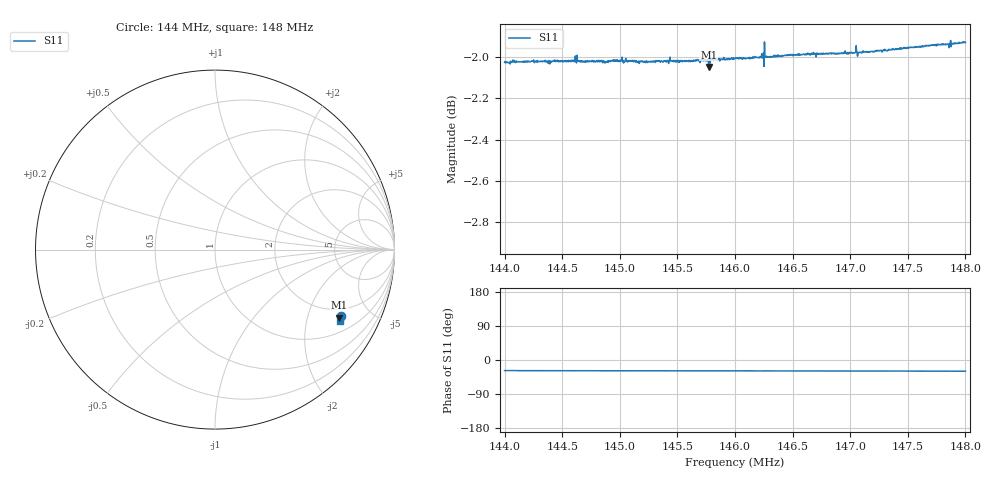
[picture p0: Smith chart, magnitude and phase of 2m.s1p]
! Calibrated averaged scanner-service zoom
# Hz S RI R 50
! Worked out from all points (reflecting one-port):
!   1001 points, 144 MHz to 148 MHz, reference 50 ohm
!   lowest |S11| = -2.0 dB at 145.77 MHz (marker M1), VSWR 8.52, Z = 79.2 - j160 ohm
!   phase of S11 starts at -28 deg and turns -2 deg over the sweep
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1.44e8  0.6997 -0.3714
1.445e8  0.6987 -0.3747
1.44588e8  0.6979 -0.3754
1.44596e8  0.6981 -0.3756
1.44632e8  0.6982 -0.3758
1.4464e8  0.698 -0.3758
1.44676e8  0.6977 -0.3759
1.44828e8  0.6972 -0.3766
1.44872e8  0.6969 -0.3769
1.45e8  0.697 -0.3773
1.45204e8  0.6964 -0.3774
1.455e8  0.6963 -0.3785
1.4572e8  0.6962 -0.3799
1.45772e8  0.6934 -0.3785
1.45808e8  0.6965 -0.3799
1.46e8  0.6963 -0.3813
1.46228e8  0.6963 -0.3819
1.46232e8  0.6979 -0.3827
1.46236e8  0.6963 -0.3824
1.46272e8  0.6967 -0.3825
1.46276e8  0.6963 -0.3821
1.4628e8  0.6967 -0.3823
1.465e8  0.6967 -0.3839
1.47e8  0.696 -0.3867
1.47084e8  0.6959 -0.3872
1.474e8  0.6967 -0.3893
1.475e8  0.6968 -0.3904
1.48e8  0.6964 -0.3955
